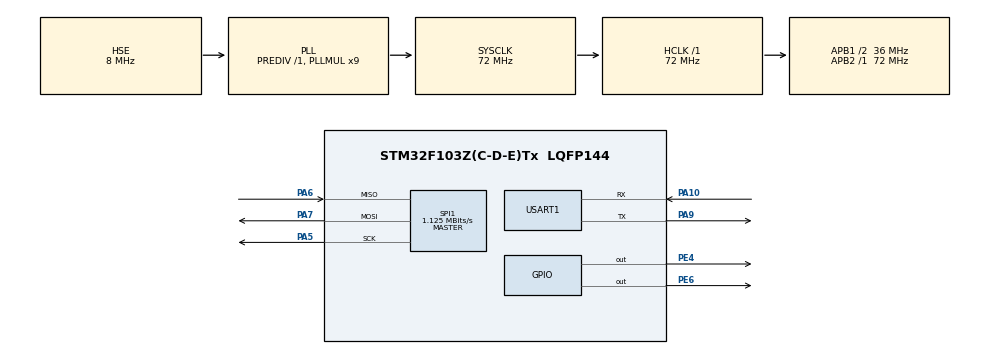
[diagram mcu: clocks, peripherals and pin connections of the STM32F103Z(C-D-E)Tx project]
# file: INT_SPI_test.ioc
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Mcu.Family=STM32F1
Mcu.Name=STM32F103Z(C-D-E)Tx
Mcu.Package=LQFP144
NVIC.PriorityGroup=NVIC_PRIORITYGROUP_4
NVIC.SPI1_IRQn=true\:0\:0\:false\:false\:true\:true\:true\:true
OSC_IN.Mode=HSE-External-Oscillator
OSC_IN.Signal=RCC_OSC_IN
OSC_OUT.Mode=HSE-External-Oscillator
OSC_OUT.Signal=RCC_OSC_OUT
PA10.Mode=Asynchronous
PA10.Signal=USART1_RX
PA13.Mode=Serial_Wire
PA13.Signal=SYS_JTMS-SWDIO
PA14.Mode=Serial_Wire
PA14.Signal=SYS_JTCK-SWCLK
PA5.Mode=Full_Duplex_Master
PA5.Signal=SPI1_SCK
PA6.Mode=Full_Duplex_Master
PA6.Signal=SPI1_MISO
PA7.Mode=Full_Duplex_Master
PA7.Signal=SPI1_MOSI
PA9.Mode=Asynchronous
PA9.Signal=USART1_TX
PE4.PinState=GPIO_PIN_SET
PE4.Signal=GPIO_Output
PE6.PinState=GPIO_PIN_SET
PE6.Signal=GPIO_Output
ProjectManager.HeapSize=0x200
ProjectManager.StackSize=0x400
ProjectManager.TargetToolchain=MDK-ARM V5.32
RCC.AHBFreq_Value=72000000
RCC.APB1CLKDivider=RCC_HCLK_DIV2
RCC.APB1Freq_Value=36000000
RCC.APB1TimFreq_Value=72000000
RCC.APB2Freq_Value=72000000
RCC.APB2TimFreq_Value=72000000
RCC.HCLKFreq_Value=72000000
RCC.PLLMUL=RCC_PLL_MUL9
RCC.PLLSourceVirtual=RCC_PLLSOURCE_HSE
RCC.SYSCLKFreq_VALUE=72000000
RCC.SYSCLKSource=RCC_SYSCLKSOURCE_PLLCLK
RCC.USBFreq_Value=72000000
SPI1.BaudRatePrescaler=SPI_BAUDRATEPRESCALER_64
SPI1.CLKPolarity=SPI_POLARITY_LOW
SPI1.CalculateBaudRate=1.125 MBits/s
SPI1.Direction=SPI_DIRECTION_2LINES
SPI1.Mode=SPI_MODE_MASTER
SPI1.VirtualType=VM_MASTER
USART1.Parity=PARITY_ODD
USART1.VirtualMode=VM_ASYNC
USART1.WordLength=WORDLENGTH_9B
board=custom

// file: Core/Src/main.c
/* USER CODE BEGIN Header */
/**
 ******************************************************************************
 * @file           : main.c
 * @brief          : Main program body
 ******************************************************************************
 * @attention
 *
 * Copyright (c) 2026 STMicroelectronics.
 * All rights reserved.
 *
 * This software is licensed under terms that can be found in the LICENSE file
 * in the root directory of this software component.
 * If no LICENSE file comes with this software, it is provided AS-IS.
 *
 ******************************************************************************
 */
/* USER CODE END Header */
#include "main.h"

/* USER CODE BEGIN Includes */
#include "stdbool.h"
#include "BSP_Usart_Redir.h"
/* USER CODE END Includes */

SPI_HandleTypeDef hspi1;

UART_HandleTypeDef huart1;

/* USER CODE BEGIN PV */
// version 1
uint8_t tx_buffer_v1[4] = {0x9f, 0x00, 0x00, 0x00};
uint8_t rx_buffer_v1[4] = {0};
uint32_t id_v1 = 0;

// version 2
uint8_t cmd_v2 = 0x9f;
uint8_t rx_buffer_v2[3] = {0};
uint32_t id_v2 = 0;

volatile bool is_JEDIC_ready = false;
/* USER CODE END PV */

void SystemClock_Config(void);
static void MX_GPIO_Init(void);
static void MX_SPI1_Init(void);
static void MX_USART1_UART_Init(void);
/* USER CODE BEGIN PFP */
void W25Qxx_CS_Enable(void);
void W25Qxx_CS_Disable(void);
void W25Qxx_Read_ID_IT_v1(void);
void W25Qxx_Read_ID_IT_v2(void);
/* USER CODE END PFP */

int main(void)
{

  /* MCU Configuration--------------------------------------------------------*/

  /* Reset of all peripherals, Initializes the Flash interface and the Systick. */
  HAL_Init();

  /* Configure the system clock */
  SystemClock_Config();

  /* Initialize all configured peripherals */
  MX_GPIO_Init();
  MX_SPI1_Init();
  MX_USART1_UART_Init();
  /* USER CODE BEGIN 2 */
  BSP_Usart_Init(&huart1);
  //W25Qxx_Read_ID_IT_v1();
  W25Qxx_Read_ID_IT_v2();
  /* USER CODE END 2 */

  /* Infinite loop */
  /* USER CODE BEGIN WHILE */
  while (1)
  {
    if (is_JEDIC_ready)
    {
      printf("JEDEC ID: 0x%x\n", id_v2);
      is_JEDIC_ready = false;
    }
    /* USER CODE END WHILE */

  }
}

void SystemClock_Config(void)
{
  RCC_OscInitTypeDef RCC_OscInitStruct = {0};
  RCC_ClkInitTypeDef RCC_ClkInitStruct = {0};

  /** Initializes the RCC Oscillators according to the specified parameters
  * in the RCC_OscInitTypeDef structure.
  */
  RCC_OscInitStruct.OscillatorType = RCC_OSCILLATORTYPE_HSE;
  RCC_OscInitStruct.HSEState = RCC_HSE_ON;
  RCC_OscInitStruct.HSEPredivValue = RCC_HSE_PREDIV_DIV1;
  RCC_OscInitStruct.HSIState = RCC_HSI_ON;
  RCC_OscInitStruct.PLL.PLLState = RCC_PLL_ON;
  RCC_OscInitStruct.PLL.PLLSource = RCC_PLLSOURCE_HSE;
  RCC_OscInitStruct.PLL.PLLMUL = RCC_PLL_MUL9;
  if (HAL_RCC_OscConfig(&RCC_OscInitStruct) != HAL_OK)
  {
    Error_Handler();
  }

  /** Initializes the CPU, AHB and APB buses clocks
  */
  RCC_ClkInitStruct.ClockType = RCC_CLOCKTYPE_HCLK|RCC_CLOCKTYPE_SYSCLK
                              |RCC_CLOCKTYPE_PCLK1|RCC_CLOCKTYPE_PCLK2;
  RCC_ClkInitStruct.SYSCLKSource = RCC_SYSCLKSOURCE_PLLCLK;
  RCC_ClkInitStruct.AHBCLKDivider = RCC_SYSCLK_DIV1;
  RCC_ClkInitStruct.APB1CLKDivider = RCC_HCLK_DIV2;
  RCC_ClkInitStruct.APB2CLKDivider = RCC_HCLK_DIV1;

  if (HAL_RCC_ClockConfig(&RCC_ClkInitStruct, FLASH_LATENCY_2) != HAL_OK)
  {
    Error_Handler();
  }
}

static void MX_SPI1_Init(void)
{

  /* SPI1 parameter configuration*/
  hspi1.Instance = SPI1;
  hspi1.Init.Mode = SPI_MODE_MASTER;
  hspi1.Init.Direction = SPI_DIRECTION_2LINES;
  hspi1.Init.DataSize = SPI_DATASIZE_8BIT;
  hspi1.Init.CLKPolarity = SPI_POLARITY_LOW;
  hspi1.Init.CLKPhase = SPI_PHASE_1EDGE;
  hspi1.Init.NSS = SPI_NSS_SOFT;
  hspi1.Init.BaudRatePrescaler = SPI_BAUDRATEPRESCALER_64;
  hspi1.Init.FirstBit = SPI_FIRSTBIT_MSB;
  hspi1.Init.TIMode = SPI_TIMODE_DISABLE;
  hspi1.Init.CRCCalculation = SPI_CRCCALCULATION_DISABLE;
  hspi1.Init.CRCPolynomial = 10;
  if (HAL_SPI_Init(&hspi1) != HAL_OK)
  {
    Error_Handler();
  }

}

static void MX_USART1_UART_Init(void)
{

  huart1.Instance = USART1;
  huart1.Init.BaudRate = 115200;
  huart1.Init.WordLength = UART_WORDLENGTH_9B;
  huart1.Init.StopBits = UART_STOPBITS_1;
  huart1.Init.Parity = UART_PARITY_ODD;
  huart1.Init.Mode = UART_MODE_TX_RX;
  huart1.Init.HwFlowCtl = UART_HWCONTROL_NONE;
  huart1.Init.OverSampling = UART_OVERSAMPLING_16;
  if (HAL_UART_Init(&huart1) != HAL_OK)
  {
    Error_Handler();
  }

}

static void MX_GPIO_Init(void)
{
  GPIO_InitTypeDef GPIO_InitStruct = {0};

  /* GPIO Ports Clock Enable */
  __HAL_RCC_GPIOE_CLK_ENABLE();
  __HAL_RCC_GPIOA_CLK_ENABLE();

  /*Configure GPIO pin Output Level */
  HAL_GPIO_WritePin(GPIOE, GPIO_PIN_4|GPIO_PIN_6, GPIO_PIN_SET);

  /*Configure GPIO pins : PE4 PE6 */
  GPIO_InitStruct.Pin = GPIO_PIN_4|GPIO_PIN_6;
  GPIO_InitStruct.Mode = GPIO_MODE_OUTPUT_PP;
  GPIO_InitStruct.Pull = GPIO_NOPULL;
  GPIO_InitStruct.Speed = GPIO_SPEED_FREQ_LOW;
  HAL_GPIO_Init(GPIOE, &GPIO_InitStruct);

}

/* USER CODE BEGIN 4 */
void W25Qxx_CS_Enable(void)
{
  HAL_GPIO_WritePin(GPIOE, GPIO_PIN_6, GPIO_PIN_RESET);
}

void W25Qxx_CS_Disable(void)
{
  HAL_GPIO_WritePin(GPIOE, GPIO_PIN_6, GPIO_PIN_SET);
}

// version 1
void W25Qxx_Read_ID_IT_v1(void)
{
  W25Qxx_CS_Enable();
  HAL_StatusTypeDef state = HAL_SPI_TransmitReceive_IT(&hspi1, tx_buffer_v1, rx_buffer_v1, 4);
  if (state == HAL_OK)
  {
    printf(">> Read ID v1's TransmitReceive Success <<\n");
  }
  else
  {
    W25Qxx_CS_Disable();
    printf(">> Read ID v1's TransmitReceive Wrong <<\n");
  }
}

void HAL_SPI_TxRxCpltCallback(SPI_HandleTypeDef *hspi)
{
  if (&hspi1 == hspi)
  {
    W25Qxx_CS_Disable();
    id_v1 = (rx_buffer_v1[1] << 16) | (rx_buffer_v1[2] << 8) | (rx_buffer_v1[3]);
    is_JEDIC_ready = true;
  }
}

// version 2
void W25Qxx_Read_ID_IT_v2(void)
{
  W25Qxx_CS_Enable();
  HAL_StatusTypeDef state = HAL_SPI_Transmit_IT(&hspi1, &cmd_v2, sizeof(cmd_v2));
  if (state == HAL_OK)
  {
    printf(">> Read ID v2's Transmit Success <<\n");
  }
  else
  {
    W25Qxx_CS_Disable();
    printf(">> Read ID v2's Transmit Wrong <<\n");
  }
}

void HAL_SPI_TxCpltCallback(SPI_HandleTypeDef *hspi)
{
  if (&hspi1 == hspi)
  {
    W25Qxx_CS_Enable();
    HAL_StatusTypeDef state = HAL_SPI_Receive_IT(&hspi1, rx_buffer_v2, sizeof(rx_buffer_v2)/sizeof(rx_buffer_v2[0]));
    if (state == HAL_OK)
    {
      printf(">> Read ID v2's Receive Success <<\n");
    }
    else
    {
      W25Qxx_CS_Disable();
      printf(">> Read ID v2's Receive Wrong <<\n");
    }
  }
}

void HAL_SPI_RxCpltCallback(SPI_HandleTypeDef *hspi)
{
  if (&hspi1 == hspi)
  {
    W25Qxx_CS_Disable();
    id_v2 = (rx_buffer_v2[0] << 16) | (rx_buffer_v2[1] << 8) | (rx_buffer_v2[2]);
    is_JEDIC_ready = true;
  }
}
/* USER CODE END 4 */

void Error_Handler(void)
{
  __disable_irq();
  while (1)
  {
  }
}
